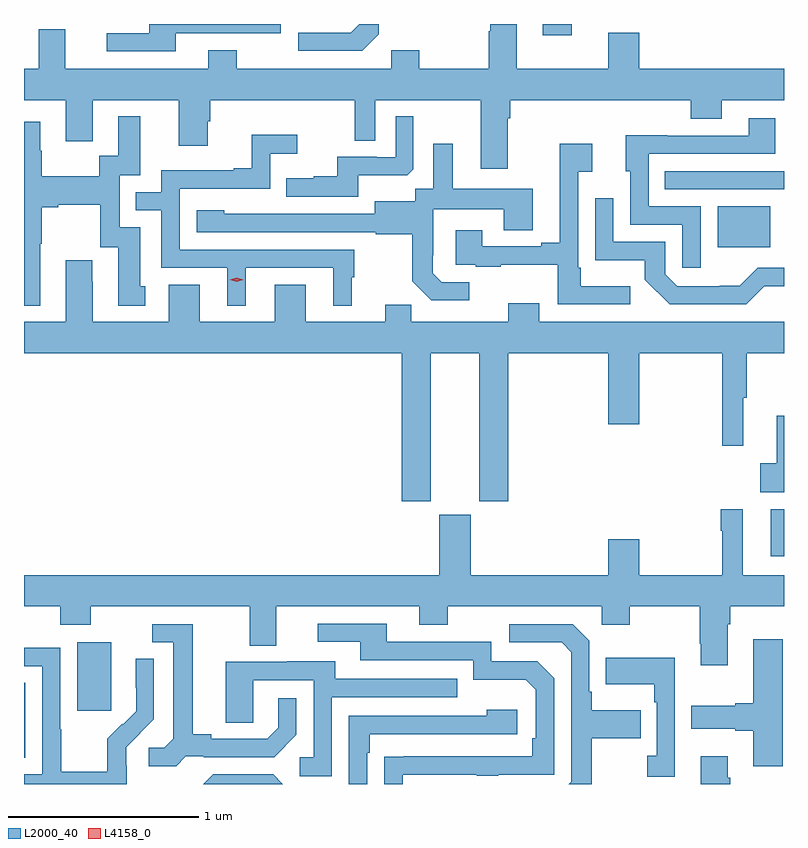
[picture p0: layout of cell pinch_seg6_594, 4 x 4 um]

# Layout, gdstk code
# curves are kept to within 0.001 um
import gdstk
lib = gdstk.Library(unit=1e-6, precision=1e-09)
def R(c, l, rs):  # rectangles x0, y0, x1, y1
    for r in rs: c.add(gdstk.rectangle(r[:2], r[2:], *l))
def P(c, l, *ps):  # polygons
    for p in ps: c.add(gdstk.Polygon(p, *l))
L2000_40 = (2000, 40)
L4158_0 = (4158, 0)

pinch_seg6_594 = lib.new_cell('pinch_seg6_594')
R(pinch_seg6_594, L2000_40, [(413.682,989.161,413.689,989.558), (413.963,989.409,414.142,989.77), (417.611,990.224,417.682,990.469), (417.332,991.85,417.61,992.065), (417.055,992.154,417.682,992.25), (416.411,992.964,416.566,993.024)])
P(pinch_seg6_594, L2000_40, [(414.481,992.976),(415.032,992.976),(415.032,993.024),(414.341,993.024),(414.341,992.976),(414.117,992.976),(414.117,992.88),(414.481,992.88)],
  [(415.548,992.97),(415.548,993.024),(415.446,993.024),(415.401,992.979),(415.125,992.979),(415.125,992.883),(415.461,992.883)],
  [(416.227,992.528),(416.24,992.528),(416.24,992.624),(417.191,992.624),(417.191,992.525),(417.355,992.525),(417.355,992.624),(417.682,992.624),(417.682,992.788),(416.92,992.788),(416.92,992.977),(416.756,992.977),(416.756,992.788),(416.275,992.788),(416.275,993.024),(416.135,993.024),(416.135,992.987),(416.128,992.987),(416.128,992.788),(415.761,992.788),(415.761,992.887),(415.614,992.887),(415.614,992.788),(414.801,992.788),(414.801,992.887),(414.653,992.887),(414.653,992.788),(413.899,992.788),(413.899,992.996),(413.759,992.996),(413.759,992.788),(413.682,992.788),(413.682,992.624),(413.903,992.624),(413.903,992.406),(414.043,992.406),(414.043,992.624),(414.497,992.624),(414.497,992.382),(414.649,992.382),(414.649,992.511),(414.662,992.511),(414.662,992.624),(415.422,992.624),(415.422,992.41),(415.53,992.41),(415.53,992.624),(416.087,992.624),(416.087,992.262),(416.227,992.262)],
  [(415.441,992.228),(415.699,992.228),(415.731,992.259),(415.731,992.539),(415.638,992.539),(415.638,992.322),(415.538,992.322),(415.538,992.325),(415.331,992.325),(415.331,992.224),(415.207,992.224),(415.207,992.212),(415.063,992.212),(415.063,992.115),(415.441,992.115)],
  [(413.767,991.867),(413.775,991.867),(413.775,992.06),(413.863,992.06),(413.863,992.072),(414.083,992.072),(414.083,991.848),(414.179,991.848),(414.179,991.542),(414.319,991.542),(414.319,991.644),(414.295,991.644),(414.295,991.953),(414.186,991.953),(414.186,992.229),(414.295,992.229),(414.295,992.539),(414.179,992.539),(414.179,992.33),(414.078,992.33),(414.078,992.224),(413.775,992.224),(413.775,992.358),(413.767,992.358),(413.767,992.509),(413.682,992.509),(413.682,991.541),(413.767,991.541)],
  [(417.243,992.064),(416.97,992.064),(416.97,992.34),(417.637,992.34),(417.637,992.527),(417.497,992.527),(417.497,992.436),(417.067,992.436),(417.067,992.438),(416.849,992.438),(416.849,992.25),(416.874,992.25),(416.874,991.968),(417.147,991.968),(417.147,991.74),(417.243,991.74)],
  [(414.85,991.74),(415.31,991.74),(415.31,991.541),(415.408,991.541),(415.408,991.692),(415.42,991.692),(415.42,991.836),(414.501,991.836),(414.501,992.157),(414.978,992.157),(414.978,992.342),(415.12,992.342),(415.12,992.441),(414.88,992.441),(414.88,992.266),(414.785,992.266),(414.785,992.253),(414.405,992.253),(414.405,992.139),(414.271,992.139),(414.271,992.043),(414.405,992.043),(414.405,991.74),(414.752,991.74),(414.752,991.541),(414.85,991.541)],
  [(416.026,991.665),(415.881,991.665),(415.834,991.712),(415.834,991.807),(415.836,991.807),(415.836,992.048),(416.207,992.048),(416.207,991.939),(416.359,991.939),(416.359,992.158),(415.939,992.158),(415.939,992.395),(415.835,992.395),(415.835,992.156),(415.74,992.156),(415.74,992.092),(415.529,992.092),(415.529,992.025),(414.735,992.026),(414.735,992.044),(414.591,992.044),(414.591,991.929),(415.533,991.929),(415.533,991.917),(415.725,991.917),(415.725,991.671),(415.825,991.571),(416.026,991.571)],
  [(416.872,991.645),(416.611,991.645),(416.611,991.741),(416.598,991.741),(416.598,992.246),(416.674,992.246),(416.674,992.395),(416.501,992.395),(416.501,991.873),(416.405,991.873),(416.405,991.854),(416.095,991.854),(416.095,991.939),(415.955,991.939),(415.955,991.758),(416.059,991.758),(416.059,991.746),(416.191,991.746),(416.191,991.757),(416.49,991.757),(416.49,991.548),(416.872,991.548)],
  [(417.578,991.643),(417.682,991.643),(417.682,991.74),(417.543,991.74),(417.449,991.646),(417.344,991.646),(417.344,991.644),(417.12,991.644),(417.057,991.707),(417.057,991.878),(416.784,991.878),(416.784,992.107),(416.688,992.107),(416.688,991.781),(416.95,991.781),(416.95,991.679),(417.08,991.548),(417.483,991.548)],
  [(416.395,991.555),(416.231,991.555),(416.231,991.456),(415.721,991.456),(415.721,991.547),(415.583,991.547),(415.583,991.456),(415.165,991.456),(415.165,991.651),(415.001,991.651),(415.001,991.456),(414.607,991.456),(414.607,991.651),(414.443,991.651),(414.443,991.456),(414.043,991.456),(414.043,991.667),(414.04,991.667),(414.04,991.78),(413.903,991.78),(413.903,991.456),(413.682,991.456),(413.682,991.292),(415.67,991.292),(415.67,990.513),(415.822,990.513),(415.822,991.292),(416.078,991.292),(416.078,990.513),(416.231,990.513),(416.231,991.292),(416.756,991.292),(416.756,990.918),(416.92,990.918),(416.92,991.292),(417.357,991.292),(417.357,990.804),(417.467,990.804),(417.467,991.056),(417.485,991.056),(417.485,991.292),(417.682,991.292),(417.682,991.456),(416.395,991.456)],
  [(417.682,990.961),(417.644,990.961),(417.644,990.713),(417.558,990.713),(417.558,990.56),(417.682,990.56)],
  [(413.682,989.96),(413.873,989.96),(413.873,989.861),(414.033,989.861),(414.033,989.96),(414.869,989.96),(414.869,989.752),(415.009,989.752),(415.009,989.96),(415.763,989.96),(415.763,989.861),(415.911,989.861),(415.911,989.96),(416.724,989.96),(416.724,989.861),(416.871,989.861),(416.871,989.96),(417.238,989.96),(417.238,989.761),(417.245,989.761),(417.245,989.649),(417.385,989.649),(417.385,989.864),(417.398,989.864),(417.398,989.96),(417.682,989.96),(417.682,990.124),(417.466,990.124),(417.466,990.469),(417.349,990.469),(417.349,990.356),(417.357,990.356),(417.357,990.124),(416.92,990.124),(416.92,990.313),(416.756,990.313),(416.756,990.124),(416.032,990.124),(416.032,990.441),(415.868,990.441),(415.868,990.124),(413.682,990.124)],
  [(415.675,989.073),(416.065,989.073),(416.065,989.068),(416.177,989.068),(416.177,989.073),(416.472,989.073),(416.472,989.58),(416.382,989.67),(416.142,989.67),(416.142,989.772),(415.591,989.772),(415.591,989.868),(415.227,989.868),(415.227,989.772),(415.451,989.772),(415.451,989.676),(416.046,989.676),(416.046,989.573),(416.323,989.573),(416.376,989.52),(416.376,989.266),(416.356,989.266),(416.356,989.169),(415.579,989.168),(415.579,989.024),(415.675,989.024)],
  [(414.534,989.169),(414.628,989.169),(414.628,989.166),(415,989.166),(415.116,989.282),(415.116,989.476),(415.019,989.476),(415.019,989.319),(414.962,989.262),(414.667,989.262),(414.667,989.285),(414.571,989.285),(414.571,989.865),(414.357,989.865),(414.357,989.769),(414.467,989.769),(414.467,989.261),(414.42,989.214),(414.339,989.214),(414.339,989.117),(414.482,989.117)],
  [(416.671,989.266),(416.927,989.266),(416.927,989.413),(416.671,989.413),(416.671,989.509),(416.658,989.509),(416.658,989.778),(416.571,989.865),(416.235,989.865),(416.235,989.769),(416.511,989.769),(416.562,989.718),(416.562,989.037),(416.549,989.024),(416.671,989.024)],
  [(417.676,989.785),(417.521,989.785),(417.521,989.45),(417.425,989.45),(417.425,989.437),(417.195,989.437),(417.195,989.315),(417.425,989.315),(417.425,989.303),(417.521,989.303),(417.521,989.118),(417.676,989.118)],
  [(414.222,989.121),(414.22,989.121),(414.22,989.218),(414.366,989.366),(414.366,989.684),(414.27,989.684),(414.27,989.53),(414.272,989.53),(414.272,989.408),(414.201,989.337),(414.198,989.34),(414.121,989.263),(414.121,989.089),(413.877,989.089),(413.877,989.312),(413.874,989.312),(413.874,989.742),(413.682,989.742),(413.682,989.643),(413.778,989.643),(413.778,989.076),(413.682,989.076),(413.682,989.024),(414.222,989.024)],
  [(417.108,989.689),(416.743,989.689),(416.743,989.549),(417,989.549),(417,989.453),(417.012,989.453),(417.012,989.174),(416.961,989.174),(416.961,989.061),(417.108,989.061)],
  [(415.302,989.481),(415.961,989.481),(415.961,989.577),(415.321,989.577),(415.321,989.671),(415.067,989.671),(415.067,989.667),(414.743,989.667),(414.743,989.347),(414.888,989.347),(414.888,989.571),(415.206,989.571),(415.206,989.166),(415.134,989.166),(415.134,989.065),(415.302,989.065)],
  [(415.488,989.189),(415.501,989.189),(415.501,989.286),(416.278,989.286),(416.278,989.416),(416.117,989.416),(416.117,989.382),(415.392,989.382),(415.392,989.024),(415.488,989.024)],
  [(417.398,989.057),(417.385,989.057),(417.385,989.17),(417.245,989.17),(417.245,989.024),(417.398,989.024)],
  [(414.993,989.076),(414.678,989.076),(414.626,989.024),(415.045,989.024)])
P(pinch_seg6_594, L4158_0, [(414.801,991.668),(414.766,991.678),(414.765,991.678),(414.766,991.678),(414.801,991.688),(414.836,991.678),(414.837,991.678),(414.836,991.678)])

lib.write_gds('pinch_seg6_594.gds')
